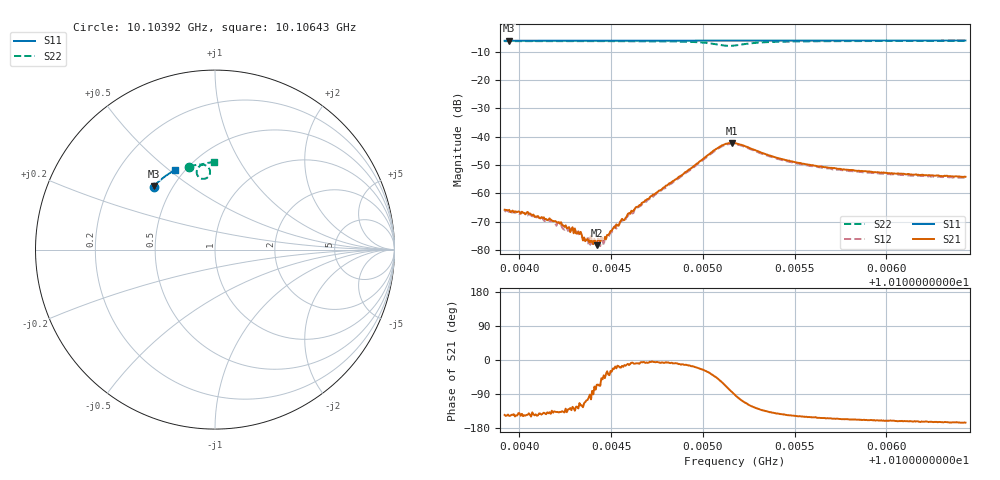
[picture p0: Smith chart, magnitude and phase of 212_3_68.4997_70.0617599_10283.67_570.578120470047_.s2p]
#  HZ  S  RI  R  50.00
! Rohde & Schwarz Vector Network Analyzer
! Rohde-Schwarz,ZNB20-2Port,1311601062101988,3.16
! Created: UTC 3/20/2024, 5:13:12 PM
! freq[Hz]  re:S11  im:S11  re:S21  im:S21  re:S12  im:S12  re:S22  im:S22
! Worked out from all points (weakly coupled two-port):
!   401 points, 10.10392 GHz to 10.10643 GHz, reference 50 ohm
!   highest |S21| = -42.28 dB at 10.10516 GHz (marker M1); lowest = -78.4 dB at 10.10442 GHz (marker M2)
!   lowest |S11| = -6.2 dB at 10.10394 GHz (marker M3), VSWR 2.93, Z = 19.7 + j18.3 ohm
!   |S11| at or under -10 dB: nowhere
!   |S22| runs from -8.0 to -6.2 dB; largest |S21 - S12| = 0.0008
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1.0103919e10  -0.3422 0.3515  -0.000419 -0.000293  -0.000365 -0.000292  -0.1431 0.461
1.0103944e10  -0.3413 0.3524  -0.000429 -0.000272  -0.000376 -0.000282  -0.1415 0.4616
1.0104051e10  -0.3368 0.3571  -0.000332 -0.000272  -0.000327 -0.000285  -0.1342 0.4639
1.0104177e10  -0.3315 0.3627  -0.000229 -0.000239  -0.000244 -0.000213  -0.1255 0.4666
1.0104252e10  -0.3282 0.3659  -0.000169 -0.000212  -0.000157 -0.000188  -0.1199 0.4683
1.0104309e10  -0.3256 0.3684  -0.000107 -0.000163  -7.9e-05 -0.000198  -0.1158 0.4692
1.010434e10  -0.3242 0.3697  -9e-05 -0.000158  -4.65e-05 -0.00017  -0.1135 0.4697
1.0104372e10  -0.3229 0.3709  -4.12e-05 -0.000149  -1.92e-05 -0.000171  -0.1108 0.4704
1.0104409e10  -0.3212 0.3724  5.35e-05 -0.000147  2.17e-05 -0.000129  -0.1079 0.4711
1.0104422e10  -0.3206 0.3731  5.01e-05 -0.000109  5.69e-05 -0.000113  -0.1071 0.4712
1.0104447e10  -0.3195 0.374  0.000113 -0.000126  9.5e-05 -0.000106  -0.1049 0.4717
1.0104472e10  -0.3184 0.3752  0.000123 -9.24e-05  0.000141 -9.69e-05  -0.1027 0.4721
1.010451e10  -0.3167 0.3767  0.000219 -9.07e-05  0.000216 -6.47e-05  -0.0997 0.4727
1.010456e10  -0.3145 0.3787  0.00034 -9.43e-05  0.000319 -5.58e-05  -0.0953 0.4732
1.0104761e10  -0.3052 0.3868  0.0011 -0.000123  0.00105 -1.71e-05  -0.0742 0.4743
1.0105075e10  -0.2902 0.3987  0.00419 -0.00442  0.00444 -0.00387  -0.0284 0.4232
1.0105156e10  -0.2865 0.4014  0.000849 -0.00765  0.00156 -0.00727  -0.0677 0.394
1.0105175e10  -0.2858 0.4022  -0.000304 -0.00762  0.000418 -0.00733  -0.0796 0.3971
1.0105395e10  -0.2754 0.4104  -0.00331 -0.00274  -0.00293 -0.0029  -0.0899 0.4611
1.0105596e10  -0.2655 0.4175  -0.00274 -0.0015  -0.00248 -0.00169  -0.0679 0.4755
1.0106017e10  -0.2442 0.4317  -0.00212 -0.000774  -0.00198 -0.000928  -0.0327 0.4848
1.0106431e10  -0.2224 0.4443  -0.00188 -0.000492  -0.00177 -0.000631  -0.00319 0.4878
